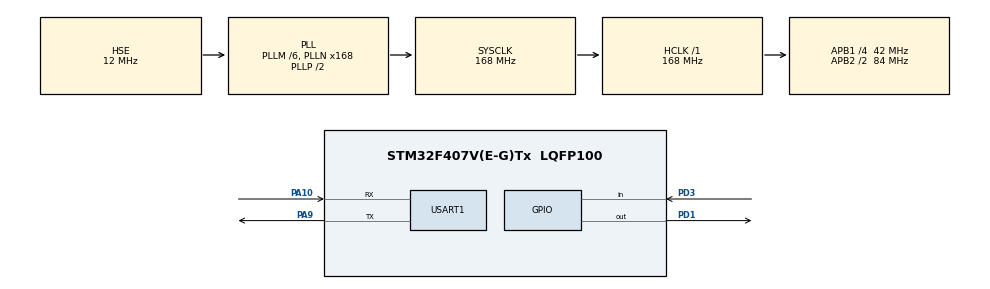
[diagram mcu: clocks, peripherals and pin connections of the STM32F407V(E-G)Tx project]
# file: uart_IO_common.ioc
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Mcu.Family=STM32F4
Mcu.Name=STM32F407V(E-G)Tx
Mcu.Package=LQFP100
NVIC.PriorityGroup=NVIC_PRIORITYGROUP_4
PA10.Mode=Asynchronous
PA10.Signal=USART1_RX
PA13.Mode=Serial_Wire
PA13.Signal=SYS_JTMS-SWDIO
PA14.Mode=Serial_Wire
PA14.Signal=SYS_JTCK-SWCLK
PA9.Mode=Asynchronous
PA9.Signal=USART1_TX
PD1.Signal=GPIO_Output
PD3.Signal=GPIO_Input
PH0-OSC_IN.Mode=HSE-External-Oscillator
PH0-OSC_IN.Signal=RCC_OSC_IN
PH1-OSC_OUT.Mode=HSE-External-Oscillator
PH1-OSC_OUT.Signal=RCC_OSC_OUT
ProjectManager.HeapSize=0x8000
ProjectManager.StackSize=0x4000
ProjectManager.TargetToolchain=STM32CubeIDE
RCC.48MHZClocksFreq_Value=84000000
RCC.AHBFreq_Value=168000000
RCC.APB1CLKDivider=RCC_HCLK_DIV4
RCC.APB1Freq_Value=42000000
RCC.APB1TimFreq_Value=84000000
RCC.APB2CLKDivider=RCC_HCLK_DIV2
RCC.APB2Freq_Value=84000000
RCC.APB2TimFreq_Value=168000000
RCC.CortexFreq_Value=168000000
RCC.HCLKFreq_Value=168000000
RCC.HSE_VALUE=12000000
RCC.HSI_VALUE=16000000
RCC.LSE_VALUE=32768
RCC.PLLM=6
RCC.PLLN=168
RCC.PLLSourceVirtual=RCC_PLLSOURCE_HSE
RCC.SYSCLKFreq_VALUE=168000000
RCC.SYSCLKSource=RCC_SYSCLKSOURCE_PLLCLK
RCC.VCOOutputFreq_Value=336000000
USART1.VirtualMode=VM_ASYNC
board=custom

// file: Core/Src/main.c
/* USER CODE BEGIN Header */
/**
  ******************************************************************************
  * @file           : main.c
  * @brief          : Main program body
  ******************************************************************************
  * @attention
  *
  * Copyright (c) 2024 STMicroelectronics.
  * All rights reserved.
  *
  * This software is licensed under terms that can be found in the LICENSE file
  * in the root directory of this software component.
  * If no LICENSE file comes with this software, it is provided AS-IS.
  *
  ******************************************************************************
  */
/* USER CODE END Header */
#include "main.h"
#include "usart.h"
#include "gpio.h"

/* USER CODE BEGIN Includes */
#include "stdarg.h"
#include "stdio.h"
/* USER CODE END Includes */

void SystemClock_Config(void);
/* USER CODE BEGIN PFP */
int uart_printf(char *fmt, ...);
/* USER CODE END PFP */

int main(void)
{

  /* MCU Configuration--------------------------------------------------------*/

  /* Reset of all peripherals, Initializes the Flash interface and the Systick. */
  HAL_Init();

  /* Configure the system clock */
  SystemClock_Config();

  /* Initialize all configured peripherals */
  MX_GPIO_Init();
  MX_USART1_UART_Init();

  /* Infinite loop */
  while (1)
  {

    /* USER CODE BEGIN 3 */
    ////uart test
    uart_printf("This is uart test\r\n");

    ////GPIO output test
//    HAL_GPIO_WritePin(GPIOD, GPIO_PIN_1, GPIO_PIN_SET);////Set GPIO high
//    HAL_GPIO_WritePin(GPIOD, GPIO_PIN_1, GPIO_PIN_RESET);////Set GPIO low
    HAL_GPIO_TogglePin(GPIOD, GPIO_PIN_1);

    ////GPIO input test
    int pd_3_value = HAL_GPIO_ReadPin(GPIOD, GPIO_PIN_3);
    uart_printf("PD3 value = %d\r\n", pd_3_value);

    HAL_Delay(1000);
  }
  /* USER CODE END 3 */
}

void SystemClock_Config(void)
{
  RCC_OscInitTypeDef RCC_OscInitStruct = {0};
  RCC_ClkInitTypeDef RCC_ClkInitStruct = {0};

  /** Configure the main internal regulator output voltage
  */
  __HAL_RCC_PWR_CLK_ENABLE();
  __HAL_PWR_VOLTAGESCALING_CONFIG(PWR_REGULATOR_VOLTAGE_SCALE1);

  /** Initializes the RCC Oscillators according to the specified parameters
  * in the RCC_OscInitTypeDef structure.
  */
  RCC_OscInitStruct.OscillatorType = RCC_OSCILLATORTYPE_HSE;
  RCC_OscInitStruct.HSEState = RCC_HSE_ON;
  RCC_OscInitStruct.PLL.PLLState = RCC_PLL_ON;
  RCC_OscInitStruct.PLL.PLLSource = RCC_PLLSOURCE_HSE;
  RCC_OscInitStruct.PLL.PLLM = 6;
  RCC_OscInitStruct.PLL.PLLN = 168;
  RCC_OscInitStruct.PLL.PLLP = RCC_PLLP_DIV2;
  RCC_OscInitStruct.PLL.PLLQ = 4;
  if (HAL_RCC_OscConfig(&RCC_OscInitStruct) != HAL_OK)
  {
    Error_Handler();
  }

  /** Initializes the CPU, AHB and APB buses clocks
  */
  RCC_ClkInitStruct.ClockType = RCC_CLOCKTYPE_HCLK|RCC_CLOCKTYPE_SYSCLK
                              |RCC_CLOCKTYPE_PCLK1|RCC_CLOCKTYPE_PCLK2;
  RCC_ClkInitStruct.SYSCLKSource = RCC_SYSCLKSOURCE_PLLCLK;
  RCC_ClkInitStruct.AHBCLKDivider = RCC_SYSCLK_DIV1;
  RCC_ClkInitStruct.APB1CLKDivider = RCC_HCLK_DIV4;
  RCC_ClkInitStruct.APB2CLKDivider = RCC_HCLK_DIV2;

  if (HAL_RCC_ClockConfig(&RCC_ClkInitStruct, FLASH_LATENCY_5) != HAL_OK)
  {
    Error_Handler();
  }
}

/* USER CODE BEGIN 4 */
int uart_printf(char *fmt, ...) {
  char sprint_buf[500];
    va_list args;
    int n;
    va_start(args, fmt);
    n = vsprintf(sprint_buf, fmt, args);
    va_end(args);
    HAL_UART_Transmit(&huart1, (uint8_t *) sprint_buf, n, n);
  return 0;
}
/* USER CODE END 4 */

void Error_Handler(void)
{
  __disable_irq();
  while (1)
  {
  }
}
